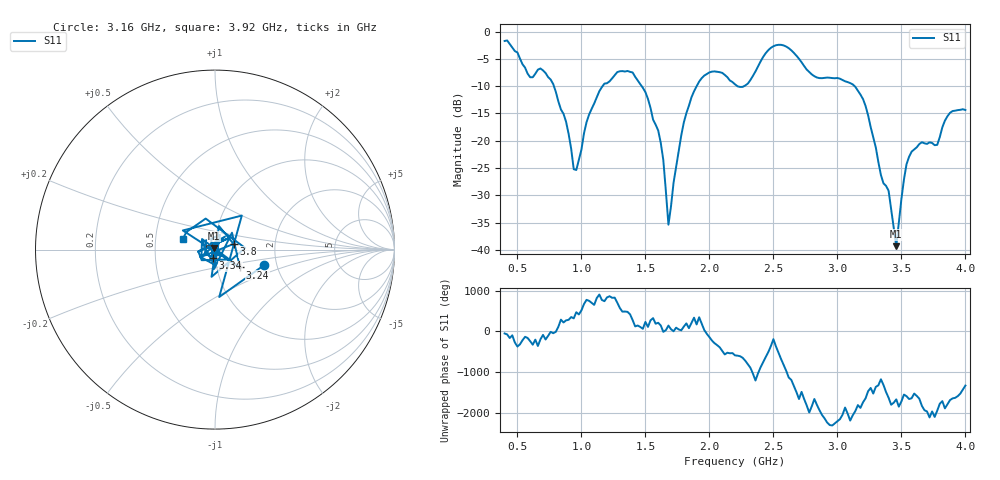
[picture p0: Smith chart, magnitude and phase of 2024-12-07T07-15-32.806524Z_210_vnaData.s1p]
!Created with skrf (http://scikit-rf.org).
# Hz S RI R 50.0
!freq ReS11 ImS11
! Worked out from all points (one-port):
!   181 points, 400 MHz to 4 GHz, reference 50 ohm
!   lowest |S11| = -39.3 dB at 3.46 GHz (marker M1), VSWR 1.02, Z = 49.4 + j0.885 ohm
!   |S11| at or under -10 dB: 785.4 MHz to 1.165 GHz (379.6 MHz wide, 38.9 % of centre); 1.471 GHz to 1.9 GHz (428.9 MHz wide, 25.4 % of centre); 3.135 GHz to end of sweep (the widest 3 of 4)
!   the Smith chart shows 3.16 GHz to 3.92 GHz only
!   S11 on the Smith chart (normalised r, x): 3.16 GHz: 1.72, -0.32; 3.24 GHz: 1.29, -0.27; 3.34 GHz: 0.98, -0.09; 3.8 GHz: 1.23, +0.08; 3.92 GHz: 0.69, +0.09
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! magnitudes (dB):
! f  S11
! 400 MHz  -1.7
! 600 MHz  -8.4
! 720 MHz  -7.6
! 860 MHz  -15.1
! 960 MHz  -25.4
! 1.14 GHz  -10.9
! 1.3 GHz  -7.3
! 1.48 GHz  -10.3
! 1.6 GHz  -18.1
! 1.64 GHz  -23.6
! 1.68 GHz  -35.4
! 1.76 GHz  -21.8
! 1.82 GHz  -14.9
! 1.94 GHz  -8.5
! 2.2 GHz  -9.7
! 2.5 GHz  -2.7
! 2.66 GHz  -3.9
! 3.1 GHz  -9.4
! 3.16 GHz  -10.8
! 3.24 GHz  -15.3
! 3.34 GHz  -26.3
! 3.4 GHz  -29.2
! 3.46 GHz  -39.3
! 3.52 GHz  -27.1
! 3.56 GHz  -22.9
! 3.8 GHz  -19.3
! 3.92 GHz  -14.5
! 4 GHz  -14.4
